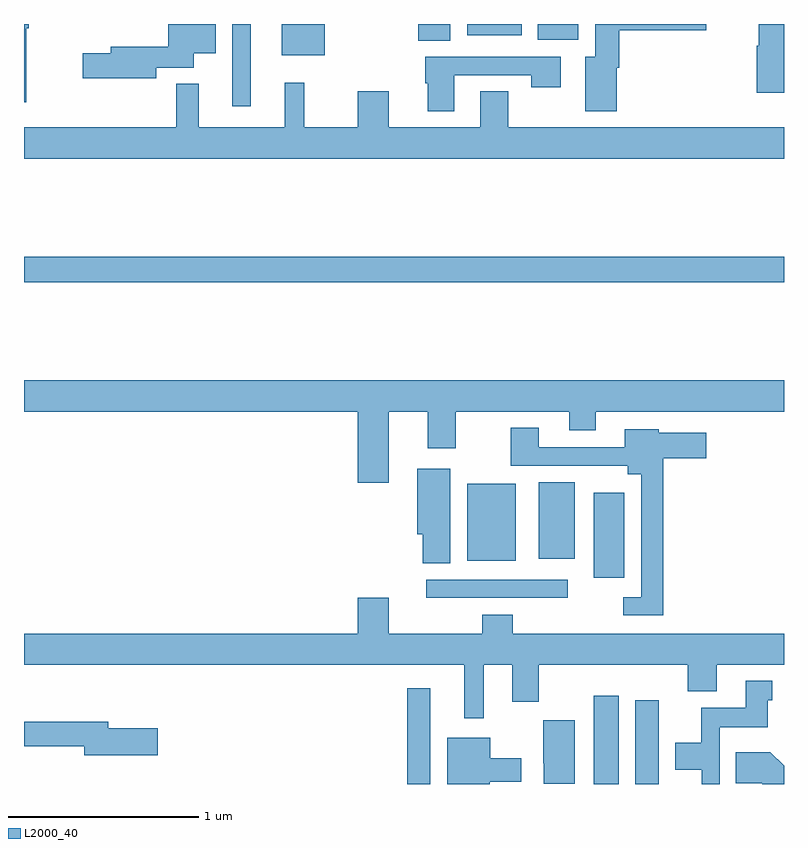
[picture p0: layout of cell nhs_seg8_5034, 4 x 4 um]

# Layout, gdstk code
import gdstk
lib = gdstk.Library(unit=1e-6, precision=1e-09)
def R(c, l, rs):  # rectangles x0, y0, x1, y1
    for r in rs: c.add(gdstk.rectangle(r[:2], r[2:], *l))
def P(c, l, *ps):  # polygons
    for p in ps: c.add(gdstk.Polygon(p, *l))
L2000_40 = (2000, 40)

nhs_seg8_5034 = lib.new_cell('nhs_seg8_5034')
R(nhs_seg8_5034, L2000_40, [(417.018,1087.9,417.139,1088.404), (417.998,1087.9,418.129,1088.365), (418.217,1087.9,418.342,1088.341), (417.117,1088.88,417.862,1088.976), (417.998,1088.985,418.159,1089.433), (417.332,1089.074,417.589,1089.481), (417.71,1089.086,417.898,1089.487), (415,1090.54,419,1090.676), (416.097,1091.466,416.194,1091.9), (416.357,1091.735,416.584,1091.9), (417.074,1091.812,417.244,1091.9), (417.704,1091.816,417.916,1091.9), (417.332,1091.84,417.619,1091.9)])
P(nhs_seg8_5034, L2000_40, [(415.696,1091.67),(415.894,1091.67),(415.894,1091.747),(416.008,1091.747),(416.008,1091.9),(415.76,1091.9),(415.76,1091.779),(415.457,1091.779),(415.457,1091.745),(415.308,1091.745),(415.308,1091.615),(415.696,1091.615)],
  [(418.12,1091.669),(418.133,1091.669),(418.133,1091.867),(418.591,1091.867),(418.591,1091.9),(418.007,1091.9),(418.007,1091.728),(417.953,1091.728),(417.953,1091.442),(418.12,1091.442)],
  [(415.012,1091.878),(415.025,1091.878),(415.025,1091.9),(415,1091.9),(415,1091.489),(415.012,1091.489)],
  [(419,1091.899),(418.868,1091.899),(418.868,1091.786),(418.856,1091.786),(418.856,1091.538),(419,1091.538)],
  [(417.265,1091.631),(417.67,1091.631),(417.67,1091.568),(417.826,1091.568),(417.826,1091.727),(417.113,1091.727),(417.113,1091.589),(417.125,1091.589),(417.125,1091.442),(417.265,1091.442)],
  [(419,1091.356),(417.549,1091.356),(417.549,1091.546),(417.401,1091.546),(417.401,1091.356),(416.92,1091.356),(416.92,1091.545),(416.756,1091.545),(416.756,1091.356),(416.474,1091.356),(416.474,1091.59),(416.372,1091.59),(416.372,1091.356),(415.919,1091.356),(415.919,1091.585),(415.801,1091.585),(415.801,1091.356),(415,1091.356),(415,1091.192),(419,1091.192)],
  [(416.92,1089.86),(417.125,1089.86),(417.125,1089.666),(417.273,1089.666),(417.273,1089.86),(417.869,1089.86),(417.869,1089.761),(418.009,1089.761),(418.009,1089.86),(419,1089.86),(419,1090.024),(415,1090.024),(415,1089.86),(416.756,1089.86),(416.756,1089.486),(416.92,1089.486)],
  [(418.364,1089.614),(418.591,1089.614),(418.591,1089.748),(418.341,1089.748),(418.341,1089.766),(418.163,1089.766),(418.163,1089.672),(417.709,1089.672),(417.709,1089.775),(417.562,1089.775),(417.562,1089.576),(418.178,1089.576),(418.178,1089.53),(418.248,1089.53),(418.248,1088.883),(418.155,1088.883),(418.155,1088.787),(418.364,1088.787)],
  [(417.244,1089.559),(417.071,1089.559),(417.071,1089.215),(417.098,1089.215),(417.098,1089.061),(417.244,1089.061)],
  [(417.421,1088.528),(417.569,1088.528),(417.569,1088.334),(417.709,1088.334),(417.709,1088.528),(418.493,1088.528),(418.493,1088.387),(418.645,1088.387),(418.645,1088.528),(419,1088.528),(419,1088.692),(417.572,1088.692),(417.572,1088.791),(417.412,1088.791),(417.412,1088.692),(416.92,1088.692),(416.92,1088.881),(416.756,1088.881),(416.756,1088.692),(415,1088.692),(415,1088.528),(417.317,1088.528),(417.317,1088.247),(417.421,1088.247)],
  [(418.662,1088.198),(418.915,1088.198),(418.915,1088.34),(418.939,1088.34),(418.939,1088.443),(418.799,1088.443),(418.799,1088.302),(418.564,1088.302),(418.564,1088.116),(418.427,1088.116),(418.427,1087.976),(418.566,1087.976),(418.566,1087.9),(418.662,1087.9)],
  [(417.898,1088.236),(417.734,1088.236),(417.734,1088.008),(417.736,1088.008),(417.736,1087.901),(417.898,1087.901)],
  [(415.705,1088.193),(415.444,1088.193),(415.444,1088.227),(415,1088.227),(415,1088.098),(415.316,1088.098),(415.316,1088.051),(415.705,1088.051)],
  [(417.45,1087.913),(417.616,1087.913),(417.616,1088.035),(417.454,1088.035),(417.454,1088.143),(417.227,1088.143),(417.227,1087.9),(417.45,1087.9)],
  [(419,1087.995),(418.927,1088.068),(418.747,1088.068),(418.747,1087.904),(418.886,1087.904),(418.886,1087.9),(419,1087.9)])

lib.write_gds('nhs_seg8_5034.gds')
